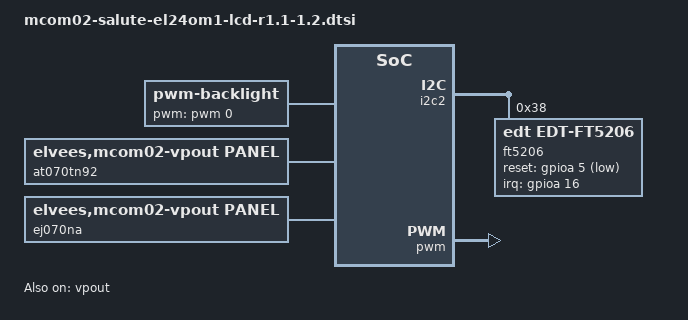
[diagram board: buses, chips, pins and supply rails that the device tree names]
/*
 * Copyright 2017 RnD Center "ELVEES", JSC
 *
 * This program is free software; you can redistribute it and/or modify
 * it under the terms of the GNU General Public License version 2 as
 * published by the Free Software Foundation.
 */

#include "mcom02-salute-el24om1-r1.1-1.2.dtsi"

/ {
	backlight: backlight {
		compatible = "pwm-backlight";
		pwms = <&pwm 0 500000>;
		brightness-levels = <
			 0  1  2  3  4  5  6  7  8  9
			10 11 12 13 14 15 16 17 18 19
			20 21 22 23 24 25 26 27 28 29
			30 31 32 33 34 35 36 37 38 39
			40 41 42 43 44 45 46 47 48 49
			50 51 52 53 54 55 56 57 58 59
			60 61 62 63 64 65 66 67 68 69
			70 71 72 73 74 75 76 77 78 79
			80 81 82 83 84 85 86 87 88 89
			90 91 92 93 94 95 96 97 98 99
			100>;
		default-brightness-level = <50>;
	};

	at070tn92: panel0 {
		compatible = "elvees,mcom02-vpout,panel";

		panel-info {
			bpp = <32>;
		};

		display-timings {
			800x480p60 {
				clock-frequency = <33300000>;
				hactive = <800>;
				vactive = <480>;
				hfront-porch = <85>;
				hback-porch = <85>;
				hsync-len = <86>;
				vfront-porch = <15>;
				vback-porch = <15>;
				vsync-len = <15>;
			};
		};
	};

	ej070na: panel1 {
		compatible = "elvees,mcom02-vpout,panel";

		panel-info {
			bpp = <32>;
		};

		display-timings {
			1024x600p60 {
				clock-frequency = <51206400>;
				hactive = <1024>;
				vactive = <600>;
				hfront-porch = <100>;
				hback-porch = <100>;
				hsync-len = <120>;
				vfront-porch = <10>;
				vback-porch = <10>;
				vsync-len = <15>;
			};
		};
	};
};

&i2c2 {
	ft5206: touchscreen@38 {
		compatible = "edt,edt-ft5206";
		reg = <0x38>;
		interrupt-parent = <&gpioa>;
		interrupts = <16 GPIO_ACTIVE_HIGH>;
		reset-gpios = <&gpioa 5 GPIO_ACTIVE_LOW>;
		touchscreen-size-x = <600>;
		touchscreen-size-y = <1024>;
	};
};

&pwm {
	status = "okay";
};

&vpout {
	status = "okay";
};
